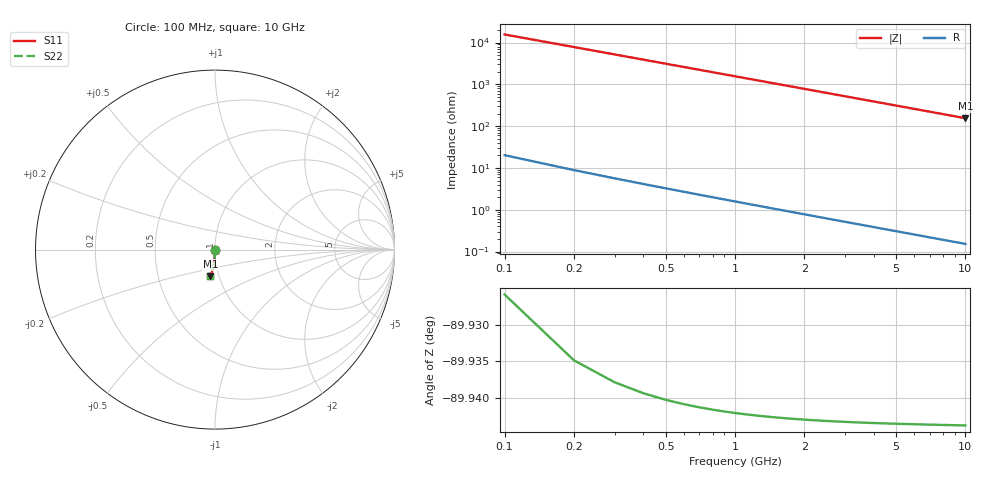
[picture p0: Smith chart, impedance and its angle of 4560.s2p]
# Hz S RI R 50.00
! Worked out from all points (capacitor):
!   100 points, 100 MHz to 10 GHz, reference 50 ohm
!   read as one part in shunt: C = 102 fF near 100 MHz
!   lowest |Z| = 155 ohm at 10 GHz (marker M1)
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1e8  2.31e-05 -0.00152  1 -0.00168  1 -0.00168  2.31e-05 -0.00152
2e8  1.4e-05 -0.00304  1 -0.00336  1 -0.00336  1.4e-05 -0.00304
3e8  -1.86e-07 -0.00456  0.9999 -0.00504  0.9999 -0.00504  -1.86e-07 -0.00456
4e8  -1.95e-05 -0.00608  0.9999 -0.00673  0.9999 -0.00673  -1.95e-05 -0.00608
5e8  -4.4e-05 -0.0076  0.9999 -0.00841  0.9999 -0.00841  -4.4e-05 -0.0076
6e8  -7.36e-05 -0.00912  0.9999 -0.0101  0.9999 -0.0101  -7.36e-05 -0.00912
7e8  -0.000108 -0.0106  0.9998 -0.0118  0.9998 -0.0118  -0.000108 -0.0106
8e8  -0.000148 -0.0122  0.9998 -0.0135  0.9998 -0.0135  -0.000148 -0.0122
9e8  -0.000193 -0.0137  0.9997 -0.0151  0.9997 -0.0151  -0.000193 -0.0137
1.1e9  -0.000298 -0.0167  0.9996 -0.0185  0.9996 -0.0185  -0.000298 -0.0167
1.4e9  -0.000495 -0.0213  0.9994 -0.0235  0.9994 -0.0235  -0.000495 -0.0213
1.8e9  -0.000828 -0.0274  0.9991 -0.0303  0.9991 -0.0303  -0.000828 -0.0274
2.1e9  -0.00113 -0.0319  0.9988 -0.0353  0.9988 -0.0353  -0.00113 -0.0319
2.5e9  -0.00161 -0.038  0.9983 -0.042  0.9983 -0.042  -0.00161 -0.038
2.9e9  -0.00217 -0.0441  0.9978 -0.0488  0.9978 -0.0488  -0.00217 -0.0441
3.4e9  -0.00298 -0.0516  0.9969 -0.0572  0.9969 -0.0572  -0.00298 -0.0516
4.2e9  -0.00455 -0.0637  0.9954 -0.0706  0.9954 -0.0706  -0.00455 -0.0637
5.1e9  -0.00671 -0.0773  0.9932 -0.0856  0.9932 -0.0856  -0.00671 -0.0773
5.9e9  -0.00897 -0.0893  0.9909 -0.0989  0.9909 -0.0989  -0.00897 -0.0893
6.7e9  -0.0116 -0.1012  0.9883 -0.1121  0.9883 -0.1121  -0.0116 -0.1012
8.4e9  -0.0181 -0.1262  0.9817 -0.14  0.9817 -0.14  -0.0181 -0.1262
1e10  -0.0255 -0.1493  0.9743 -0.1657  0.9743 -0.1657  -0.0255 -0.1493
